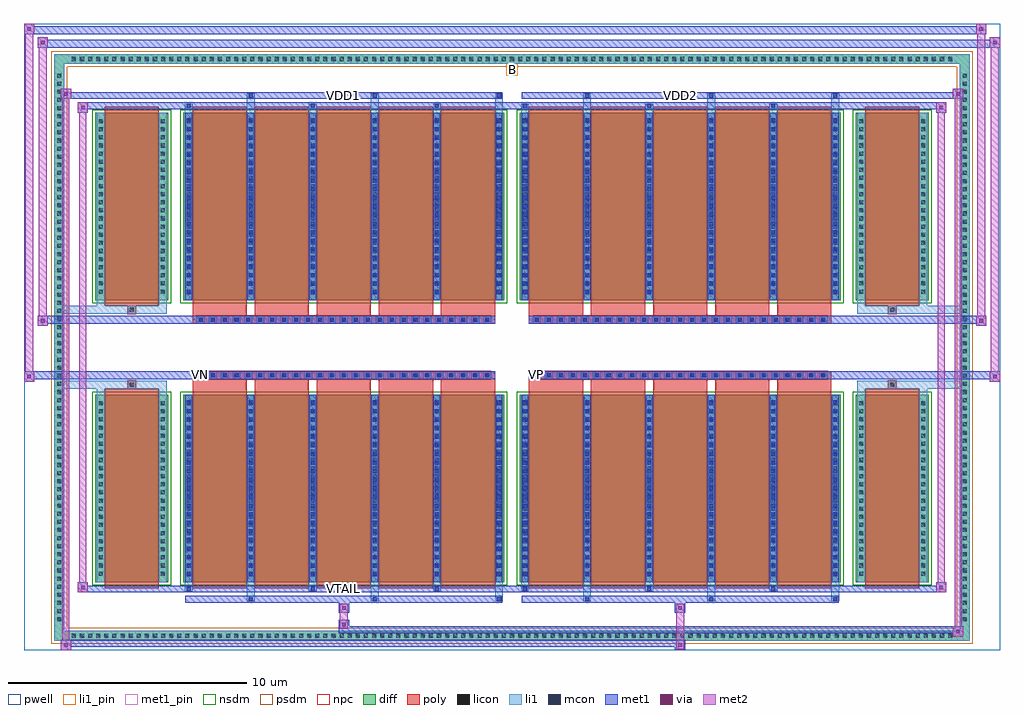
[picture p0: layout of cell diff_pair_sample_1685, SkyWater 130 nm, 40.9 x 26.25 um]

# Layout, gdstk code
import gdstk
lib = gdstk.Library(unit=1e-6, precision=5e-09)
def R(c, l, rs):  # rectangles x0, y0, x1, y1
    for r in rs: c.add(gdstk.rectangle(r[:2], r[2:], *l))
def A(c, l, x, y, w, h, nx, ny, dx, dy):  # array of equal rectangles
    R(c, l, [(x+i*dx, y+j*dy, x+i*dx+w, y+j*dy+h) for i in range(nx) for j in range(ny)])
def P(c, l, *ps):  # polygons
    for p in ps: c.add(gdstk.Polygon(p, *l))
pwell = (64, 44)
diff = (65, 20)
poly = (66, 20)
licon = (66, 44)
li1_pin = (67, 16)
li1 = (67, 20)
mcon = (67, 44)
met1_pin = (68, 16)
met1 = (68, 20)
via = (68, 44)
met2 = (69, 20)
nsdm = (93, 44)
psdm = (94, 20)
npc = (95, 20)

diff_pair_sample_1685 = lib.new_cell('diff_pair_sample_1685')
R(diff_pair_sample_1685, pwell, [(-20.45,-12.69,20.45,13.56), (-17.77,-10.88,-0.01,-0.8), (0.01,-10.88,17.77,-0.8), (-17.77,0.8,-0.01,10.88), (0.01,0.8,17.77,10.88)])
A(diff_pair_sample_1685, diff, -18.565, -12.29, 0.41, 0.41, 109, 2, 0.34, 24.17)
A(diff_pair_sample_1685, diff, -19.18, -11.595, 0.41, 0.41, 1, 68, 0, 0.34)
A(diff_pair_sample_1685, diff, 18.77, -11.595, 0.41, 0.41, 1, 68, 0, 0.34)
R(diff_pair_sample_1685, diff, [(-18.565,-12.29,18.565,-11.88), (-19.18,-11.595,-18.77,11.595), (18.77,-11.595,19.18,11.595), (-17.46,-9.835,-14.41,-1.985), (-13.77,-9.835,-0.32,-1.985), (0.32,-9.835,13.77,-1.985), (14.41,-9.835,17.46,-1.985), (-17.46,1.985,-14.41,9.835), (-13.77,1.985,-0.32,9.835), (0.32,1.985,13.77,9.835), (14.41,1.985,17.46,9.835), (-18.565,11.88,18.565,12.29)])
P(diff_pair_sample_1685, diff, [(19.18,12.29),(-19.18,12.29),(-19.18,-11.88),(-18.77,-11.88),(-18.77,11.88),(18.77,11.88),(18.77,-11.88),(-18.77,-11.88),(-19.18,-11.88),(-19.18,-12.29),(19.18,-12.29)])
A(diff_pair_sample_1685, poly, -13.38, -10.085, 2.27, 8.35, 5, 2, 2.6, 11.82)
A(diff_pair_sample_1685, poly, 0.71, -10.085, 2.27, 8.35, 5, 2, 2.6, 11.82)
A(diff_pair_sample_1685, poly, -13.38, -1.735, 2.27, 0.405, 5, 2, 2.6, 3.065)
A(diff_pair_sample_1685, poly, 0.71, -1.735, 2.27, 0.405, 5, 2, 2.6, 3.065)
A(diff_pair_sample_1685, poly, -13.21, -1.33, 0.33, 0.33, 25, 2, 0.5, 2.33)
A(diff_pair_sample_1685, poly, 0.88, -1.33, 0.33, 0.33, 25, 2, 0.5, 2.33)
R(diff_pair_sample_1685, poly, [(-17.07,-10.085,-14.8,-1.735), (14.8,-10.085,17.07,-1.735), (-16.1,-1.735,-15.77,-1.405), (-16.1,-1.735,-15.77,-1.405), (15.77,-1.735,16.1,-1.405), (15.77,-1.735,16.1,-1.405), (-13.38,-1.33,-0.71,-1), (0.71,-1.33,13.38,-1), (-13.38,1,-0.71,1.33), (0.71,1,13.38,1.33), (-16.1,1.405,-15.77,1.735), (-16.1,1.405,-15.77,1.735), (15.77,1.405,16.1,1.735), (15.77,1.405,16.1,1.735), (-17.07,1.735,-14.8,10.085), (14.8,1.735,17.07,10.085)])
A(diff_pair_sample_1685, licon, -18.445, -12.17, 0.17, 0.17, 109, 2, 0.34, 24.17)
A(diff_pair_sample_1685, licon, -19.06, -11.475, 0.17, 0.17, 1, 68, 0, 0.34)
A(diff_pair_sample_1685, licon, 18.89, -11.475, 0.17, 0.17, 1, 68, 0, 0.34)
A(diff_pair_sample_1685, licon, -17.32, -9.565, 0.17, 0.17, 1, 22, 0, 0.34)
A(diff_pair_sample_1685, licon, -14.72, -9.565, 0.17, 0.17, 1, 22, 0, 0.34)
A(diff_pair_sample_1685, licon, -13.63, -9.565, 0.17, 0.17, 6, 22, 2.6, 0.34)
A(diff_pair_sample_1685, licon, 0.46, -9.565, 0.17, 0.17, 6, 22, 2.6, 0.34)
A(diff_pair_sample_1685, licon, 14.55, -9.565, 0.17, 0.17, 1, 22, 0, 0.34)
A(diff_pair_sample_1685, licon, 17.15, -9.565, 0.17, 0.17, 1, 22, 0, 0.34)
A(diff_pair_sample_1685, licon, -13.13, -1.25, 0.17, 0.17, 25, 2, 0.5, 2.33)
A(diff_pair_sample_1685, licon, 0.96, -1.25, 0.17, 0.17, 25, 2, 0.5, 2.33)
A(diff_pair_sample_1685, licon, -17.32, 2.255, 0.17, 0.17, 1, 22, 0, 0.34)
A(diff_pair_sample_1685, licon, -14.72, 2.255, 0.17, 0.17, 1, 22, 0, 0.34)
A(diff_pair_sample_1685, licon, -13.63, 2.255, 0.17, 0.17, 6, 22, 2.6, 0.34)
A(diff_pair_sample_1685, licon, 0.46, 2.255, 0.17, 0.17, 6, 22, 2.6, 0.34)
A(diff_pair_sample_1685, licon, 14.55, 2.255, 0.17, 0.17, 1, 22, 0, 0.34)
A(diff_pair_sample_1685, licon, 17.15, 2.255, 0.17, 0.17, 1, 22, 0, 0.34)
R(diff_pair_sample_1685, licon, [(-16.02,-1.655,-15.85,-1.485), (15.85,-1.655,16.02,-1.485), (-16.02,1.485,-15.85,1.655), (15.85,1.485,16.02,1.655)])
R(diff_pair_sample_1685, li1_pin, [(-0.25,11.38,0.25,11.88)])
A(diff_pair_sample_1685, li1, -18.525, -12.25, 0.33, 0.33, 109, 2, 0.34, 24.17)
A(diff_pair_sample_1685, li1, -19.14, -11.555, 0.33, 0.33, 1, 68, 0, 0.34)
A(diff_pair_sample_1685, li1, 18.81, -11.555, 0.33, 0.33, 1, 68, 0, 0.34)
A(diff_pair_sample_1685, li1, -11.11, -10.64, 0.33, 0.805, 3, 2, 5.2, 20.475)
A(diff_pair_sample_1685, li1, -11.03, -10.64, 0.17, 0.17, 3, 2, 5.2, 21.11)
A(diff_pair_sample_1685, li1, 2.98, -10.64, 0.33, 0.805, 3, 2, 5.2, 20.475)
A(diff_pair_sample_1685, li1, 3.06, -10.64, 0.17, 0.17, 3, 2, 5.2, 21.11)
A(diff_pair_sample_1685, li1, -13.71, -10.21, 0.33, 0.375, 3, 2, 5.2, 20.045)
A(diff_pair_sample_1685, li1, -13.63, -10.21, 0.17, 0.17, 3, 2, 5.2, 20.25)
A(diff_pair_sample_1685, li1, 0.38, -10.21, 0.33, 0.375, 3, 2, 5.2, 20.045)
A(diff_pair_sample_1685, li1, 0.46, -10.21, 0.17, 0.17, 3, 2, 5.2, 20.25)
A(diff_pair_sample_1685, li1, -13.71, -9.835, 0.33, 7.85, 6, 2, 2.6, 11.82)
A(diff_pair_sample_1685, li1, 0.38, -9.835, 0.33, 7.85, 6, 2, 2.6, 11.82)
A(diff_pair_sample_1685, li1, -17.4, -9.645, 0.33, 0.33, 1, 22, 0, 0.34)
A(diff_pair_sample_1685, li1, -14.8, -9.645, 0.33, 0.33, 1, 22, 0, 0.34)
A(diff_pair_sample_1685, li1, -13.71, -9.645, 0.33, 0.33, 6, 22, 2.6, 0.34)
A(diff_pair_sample_1685, li1, 0.38, -9.645, 0.33, 0.33, 6, 22, 2.6, 0.34)
A(diff_pair_sample_1685, li1, 14.47, -9.645, 0.33, 0.33, 1, 22, 0, 0.34)
A(diff_pair_sample_1685, li1, 17.07, -9.645, 0.33, 0.33, 1, 22, 0, 0.34)
A(diff_pair_sample_1685, li1, -13.63, -9.595, 0.17, 0.17, 6, 21, 2.6, 0.36)
A(diff_pair_sample_1685, li1, -13.63, -9.595, 0.17, 7.37, 6, 2, 2.6, 11.82)
A(diff_pair_sample_1685, li1, 0.46, -9.595, 0.17, 0.17, 6, 21, 2.6, 0.36)
A(diff_pair_sample_1685, li1, 0.46, -9.595, 0.17, 7.37, 6, 2, 2.6, 11.82)
A(diff_pair_sample_1685, li1, -13.21, -1.33, 0.33, 0.33, 25, 2, 0.5, 2.33)
A(diff_pair_sample_1685, li1, 0.88, -1.33, 0.33, 0.33, 25, 2, 0.5, 2.33)
A(diff_pair_sample_1685, li1, -17.4, 2.175, 0.33, 0.33, 1, 22, 0, 0.34)
A(diff_pair_sample_1685, li1, -14.8, 2.175, 0.33, 0.33, 1, 22, 0, 0.34)
A(diff_pair_sample_1685, li1, -13.71, 2.175, 0.33, 0.33, 6, 22, 2.6, 0.34)
A(diff_pair_sample_1685, li1, 0.38, 2.175, 0.33, 0.33, 6, 22, 2.6, 0.34)
A(diff_pair_sample_1685, li1, 14.47, 2.175, 0.33, 0.33, 1, 22, 0, 0.34)
A(diff_pair_sample_1685, li1, 17.07, 2.175, 0.33, 0.33, 1, 22, 0, 0.34)
A(diff_pair_sample_1685, li1, -13.63, 2.225, 0.17, 0.17, 6, 21, 2.6, 0.36)
A(diff_pair_sample_1685, li1, 0.46, 2.225, 0.17, 0.17, 6, 21, 2.6, 0.36)
R(diff_pair_sample_1685, li1, [(-19.18,-12.29,-18.77,-11.88), (-19.18,-12.29,-18.77,-11.88), (-18.77,-12.29,18.77,-11.88), (18.77,-12.29,19.18,-11.88), (18.77,-12.29,19.18,-11.88), (-19.18,-11.88,-18.77,11.88), (18.77,-11.88,19.18,11.88), (-17.4,-9.835,-17.07,-1.985), (-14.8,-9.835,-14.47,-1.985), (14.47,-9.835,14.8,-1.985), (17.07,-9.835,17.4,-1.985), (-17.4,-1.985,-17.07,-1.405), (-14.8,-1.985,-14.47,-1.405), (14.47,-1.985,14.8,-1.405), (17.07,-1.985,17.4,-1.405), (-19.18,-1.735,-16.1,-1.405), (-17.4,-1.735,-16.1,-1.405), (-16.1,-1.735,-15.77,-1.405), (-15.77,-1.735,-14.47,-1.405), (14.47,-1.735,15.77,-1.405), (15.77,-1.735,16.1,-1.405), (15.77,-1.735,19.18,-1.405), (16.1,-1.735,17.4,-1.405), (-19.18,1.405,-16.1,1.735), (-17.4,1.405,-16.1,1.735), (-17.4,1.405,-17.07,1.985), (-16.1,1.405,-15.77,1.735), (-15.77,1.405,-14.47,1.735), (-14.8,1.405,-14.47,1.985), (14.47,1.405,15.77,1.735), (14.47,1.405,14.8,1.985), (15.77,1.405,16.1,1.735), (15.77,1.405,19.18,1.735), (16.1,1.405,17.4,1.735), (17.07,1.405,17.4,1.985), (-17.4,1.985,-17.07,9.835), (-14.8,1.985,-14.47,9.835), (14.47,1.985,14.8,9.835), (17.07,1.985,17.4,9.835), (-19.18,11.88,-18.77,12.29), (-19.18,11.88,-18.77,12.29), (-18.77,11.88,18.77,12.29), (18.77,11.88,19.18,12.29), (18.77,11.88,19.18,12.29)])
A(diff_pair_sample_1685, mcon, -11.03, -10.64, 0.17, 0.17, 3, 2, 5.2, 21.11)
A(diff_pair_sample_1685, mcon, 3.06, -10.64, 0.17, 0.17, 3, 2, 5.2, 21.11)
A(diff_pair_sample_1685, mcon, -13.63, -10.21, 0.17, 0.17, 3, 2, 5.2, 20.25)
A(diff_pair_sample_1685, mcon, 0.46, -10.21, 0.17, 0.17, 3, 2, 5.2, 20.25)
A(diff_pair_sample_1685, mcon, -13.63, -9.595, 0.17, 0.17, 6, 21, 2.6, 0.36)
A(diff_pair_sample_1685, mcon, 0.46, -9.595, 0.17, 0.17, 6, 21, 2.6, 0.36)
A(diff_pair_sample_1685, mcon, -13.13, -1.25, 0.17, 0.17, 25, 2, 0.5, 2.33)
A(diff_pair_sample_1685, mcon, 0.96, -1.25, 0.17, 0.17, 25, 2, 0.5, 2.33)
A(diff_pair_sample_1685, mcon, -13.63, 2.225, 0.17, 0.17, 6, 21, 2.6, 0.36)
A(diff_pair_sample_1685, mcon, 0.46, 2.225, 0.17, 0.17, 6, 21, 2.6, 0.36)
R(diff_pair_sample_1685, met1_pin, [(-7.18,-10.25,-6.91,-9.98), (-13.18,-1.29,-12.91,-1.02), (0.91,-1.29,1.18,-1.02), (-7.18,10.43,-6.91,10.7), (6.91,10.43,7.18,10.7)])
A(diff_pair_sample_1685, met1, -11.09, -10.7, 0.29, 0.29, 3, 2, 5.2, 21.11)
A(diff_pair_sample_1685, met1, 3, -10.7, 0.29, 0.29, 3, 2, 5.2, 21.11)
A(diff_pair_sample_1685, met1, -13.69, -10.27, 0.29, 0.29, 3, 2, 5.2, 20.25)
A(diff_pair_sample_1685, met1, 0.4, -10.27, 0.29, 0.29, 3, 2, 5.2, 20.25)
A(diff_pair_sample_1685, met1, -13.69, -9.835, 0.29, 7.85, 6, 2, 2.6, 11.82)
A(diff_pair_sample_1685, met1, 0.4, -9.835, 0.29, 7.85, 6, 2, 2.6, 11.82)
A(diff_pair_sample_1685, met1, -13.69, -9.655, 0.29, 0.29, 6, 21, 2.6, 0.36)
A(diff_pair_sample_1685, met1, 0.4, -9.655, 0.29, 0.29, 6, 21, 2.6, 0.36)
A(diff_pair_sample_1685, met1, -13.19, -1.31, 0.29, 0.29, 25, 2, 0.5, 2.33)
A(diff_pair_sample_1685, met1, 0.9, -1.31, 0.29, 0.29, 25, 2, 0.5, 2.33)
A(diff_pair_sample_1685, met1, -13.69, 2.165, 0.29, 0.29, 6, 21, 2.6, 0.36)
A(diff_pair_sample_1685, met1, 0.4, 2.165, 0.29, 0.29, 6, 21, 2.6, 0.36)
R(diff_pair_sample_1685, met1, [(-18.91,-12.69,-18.48,-12.26), (6.83,-12.69,7.26,-12.26), (-18.91,-12.55,7.26,-12.26), (18.48,-12.12,18.91,-11.69), (-7.26,-11.98,18.91,-11.69), (-7.26,-11.84,-6.83,-11.41), (-7.26,-11.13,-6.83,-10.7), (6.83,-11.13,7.26,-10.7), (-13.69,-10.7,-0.4,-10.41), (0.4,-10.7,13.69,-10.41), (-18.2,-10.27,-17.77,-9.84), (-18.2,-10.27,-13.69,-9.98), (-13.69,-10.27,-0.4,-9.98), (-0.4,-10.27,0.4,-9.98), (0.4,-10.27,13.69,-9.98), (13.69,-10.27,18.2,-9.98), (17.77,-10.27,18.2,-9.84), (-20.45,-1.43,-20.02,-1), (20.02,-1.43,20.45,-1), (-20.45,-1.33,-0.71,-1), (-13.38,-1.33,-0.71,-1), (0.71,-1.33,13.38,-1), (0.71,-1.33,20.45,-1), (-19.88,0.9,-19.45,1.33), (19.45,0.9,19.88,1.33), (-19.88,1,-13.38,1.33), (-13.38,1,-0.71,1.33), (0.71,1,13.38,1.33), (13.38,1,19.88,1.33), (-18.2,9.84,-17.77,10.27), (17.77,9.84,18.2,10.27), (-18.2,9.98,-13.69,10.27), (-13.69,9.98,-0.4,10.27), (-0.4,9.98,0.4,10.27), (0.4,9.98,13.69,10.27), (13.69,9.98,18.2,10.27), (-18.91,10.41,-18.48,10.84), (-18.91,10.41,-13.69,10.7), (-13.69,10.41,-0.4,10.7), (0.4,10.41,13.69,10.7), (13.69,10.41,18.91,10.7), (18.48,10.41,18.91,10.84), (-19.88,12.56,-19.45,12.99), (-19.88,12.56,-17.77,12.89), (-17.77,12.56,17.77,12.89), (17.77,12.56,20.45,12.89), (20.02,12.56,20.45,12.99), (-20.45,13.13,-20.02,13.56), (-20.45,13.13,-17.77,13.46), (-17.77,13.13,17.77,13.46), (17.77,13.13,19.88,13.46), (19.45,13.13,19.88,13.56)])
R(diff_pair_sample_1685, via, [(-18.77,-12.55,-18.62,-12.4), (6.97,-12.55,7.12,-12.4), (18.62,-11.98,18.77,-11.83), (-7.12,-11.7,-6.97,-11.55), (-7.12,-10.99,-6.97,-10.84), (6.97,-10.99,7.12,-10.84), (-18.06,-10.13,-17.91,-9.98), (17.91,-10.13,18.06,-9.98), (-20.31,-1.29,-20.16,-1.14), (20.16,-1.29,20.31,-1.14), (-19.74,1.04,-19.59,1.19), (19.59,1.04,19.74,1.19), (-18.06,9.98,-17.91,10.13), (17.91,9.98,18.06,10.13), (-18.77,10.55,-18.62,10.7), (18.62,10.55,18.77,10.7), (-19.74,12.7,-19.59,12.85), (20.16,12.7,20.31,12.85), (-20.31,13.27,-20.16,13.42), (19.59,13.27,19.74,13.42)])
R(diff_pair_sample_1685, met2, [(-18.91,-12.69,-18.48,-12.26), (-18.84,-12.69,-18.55,10.84), (-18.55,-12.69,-18.48,-12.26), (-18.86,-12.64,-18.53,-12.31), (6.88,-12.64,7.21,-12.31), (6.88,-12.31,7.21,-11.08), (18.48,-12.12,18.91,-11.69), (18.55,-12.12,18.84,10.84), (18.84,-12.12,18.91,-11.69), (18.53,-12.07,18.86,-11.74), (-7.21,-11.79,-6.88,-11.46), (-7.21,-11.46,-6.88,-11.08), (-7.21,-11.08,-6.88,-10.75), (6.88,-11.08,7.21,-10.75), (-18.2,-10.27,-17.77,-9.84), (-18.13,-10.27,-17.84,10.27), (-17.84,-10.27,-17.77,-9.84), (17.77,-10.27,18.2,-9.84), (17.84,-10.27,18.13,10.27), (18.13,-10.27,18.2,-9.84), (-18.15,-10.22,-17.82,-9.89), (17.82,-10.22,18.15,-9.89), (-20.45,-1.43,-20.02,-1), (-20.4,-1.43,-20.07,13.56), (-20.07,-1.43,-20.02,-1), (20.02,-1.43,20.45,-1), (20.07,-1.43,20.4,12.99), (20.4,-1.43,20.45,-1), (-20.4,-1.38,-20.07,-1.05), (20.07,-1.38,20.4,-1.05), (-19.88,0.9,-19.45,1.33), (-19.83,0.9,-19.5,12.99), (-19.5,0.9,-19.45,1.33), (19.45,0.9,19.88,1.33), (19.5,0.9,19.83,13.56), (19.83,0.9,19.88,1.33), (-19.83,0.95,-19.5,1.28), (19.5,0.95,19.83,1.28), (-18.2,9.84,-17.77,10.27), (-17.84,9.84,-17.77,10.27), (17.77,9.84,18.2,10.27), (18.13,9.84,18.2,10.27), (-18.15,9.89,-17.82,10.22), (17.82,9.89,18.15,10.22), (-18.91,10.41,-18.48,10.84), (-18.55,10.41,-18.48,10.84), (18.48,10.41,18.91,10.84), (18.84,10.41,18.91,10.84), (-18.86,10.46,-18.53,10.79), (18.53,10.46,18.86,10.79), (-19.88,12.56,-19.45,12.99), (-19.5,12.56,-19.45,12.99), (20.02,12.56,20.45,12.99), (20.4,12.56,20.45,12.99), (-19.83,12.61,-19.5,12.94), (20.07,12.61,20.4,12.94), (-20.45,13.13,-20.02,13.56), (-20.07,13.13,-20.02,13.56), (19.45,13.13,19.88,13.56), (19.83,13.13,19.88,13.56), (-20.4,13.18,-20.07,13.51), (19.5,13.18,19.83,13.51)])
R(diff_pair_sample_1685, nsdm, [(-17.59,-9.965,-14.28,-1.855), (-13.9,-9.965,-0.19,-1.855), (0.19,-9.965,13.9,-1.855), (14.28,-9.965,17.59,-1.855), (-17.59,1.855,-14.28,9.965), (-13.9,1.855,-0.19,9.965), (0.19,1.855,13.9,9.965), (14.28,1.855,17.59,9.965)])
P(diff_pair_sample_1685, psdm, [(19.31,12.42),(-19.31,12.42),(-19.31,-11.75),(-18.64,-11.75),(-18.64,11.75),(18.64,11.75),(18.64,-11.75),(-18.64,-11.75),(-19.31,-11.75),(-19.31,-12.42),(19.31,-12.42)])
A(diff_pair_sample_1685, npc, -13.23, -1.35, 0.37, 0.37, 25, 2, 0.5, 2.33)
A(diff_pair_sample_1685, npc, 0.86, -1.35, 0.37, 0.37, 25, 2, 0.5, 2.33)
R(diff_pair_sample_1685, npc, [(-16.12,-1.755,-15.75,-1.385), (15.75,-1.755,16.12,-1.385), (-13.23,-1.35,-12.36,-0.98), (-13.23,-1.35,-12.36,-0.98), (-12.73,-1.35,-11.86,-0.98), (-12.73,-1.35,-11.86,-0.98), (-12.23,-1.35,-11.36,-0.98), (-12.23,-1.35,-11.36,-0.98), (-11.73,-1.35,-10.86,-0.98), (-11.73,-1.35,-10.86,-0.98), (-11.23,-1.35,-10.36,-0.98), (-11.23,-1.35,-10.36,-0.98), (-10.73,-1.35,-9.86,-0.98), (-10.73,-1.35,-9.86,-0.98), (-10.23,-1.35,-9.36,-0.98), (-10.23,-1.35,-9.36,-0.98), (-9.73,-1.35,-8.86,-0.98), (-9.73,-1.35,-8.86,-0.98), (-9.23,-1.35,-8.36,-0.98), (-9.23,-1.35,-8.36,-0.98), (-8.73,-1.35,-7.86,-0.98), (-8.73,-1.35,-7.86,-0.98), (-8.23,-1.35,-7.36,-0.98), (-8.23,-1.35,-7.36,-0.98), (-7.73,-1.35,-6.86,-0.98), (-7.73,-1.35,-6.86,-0.98), (-7.23,-1.35,-6.36,-0.98), (-7.23,-1.35,-6.36,-0.98), (-6.73,-1.35,-5.86,-0.98), (-6.73,-1.35,-5.86,-0.98), (-6.23,-1.35,-5.36,-0.98), (-6.23,-1.35,-5.36,-0.98), (-5.73,-1.35,-4.86,-0.98), (-5.73,-1.35,-4.86,-0.98), (-5.23,-1.35,-4.36,-0.98), (-5.23,-1.35,-4.36,-0.98), (-4.73,-1.35,-3.86,-0.98), (-4.73,-1.35,-3.86,-0.98), (-4.23,-1.35,-3.36,-0.98), (-4.23,-1.35,-3.36,-0.98), (-3.73,-1.35,-2.86,-0.98), (-3.73,-1.35,-2.86,-0.98), (-3.23,-1.35,-2.36,-0.98), (-3.23,-1.35,-2.36,-0.98), (-2.73,-1.35,-1.86,-0.98), (-2.73,-1.35,-1.86,-0.98), (-2.23,-1.35,-1.36,-0.98), (-2.23,-1.35,-1.36,-0.98), (-1.73,-1.35,-0.86,-0.98), (-1.73,-1.35,-0.86,-0.98), (0.86,-1.35,1.73,-0.98), (0.86,-1.35,1.73,-0.98), (1.36,-1.35,2.23,-0.98), (1.36,-1.35,2.23,-0.98), (1.86,-1.35,2.73,-0.98), (1.86,-1.35,2.73,-0.98), (2.36,-1.35,3.23,-0.98), (2.36,-1.35,3.23,-0.98), (2.86,-1.35,3.73,-0.98), (2.86,-1.35,3.73,-0.98), (3.36,-1.35,4.23,-0.98), (3.36,-1.35,4.23,-0.98), (3.86,-1.35,4.73,-0.98), (3.86,-1.35,4.73,-0.98), (4.36,-1.35,5.23,-0.98), (4.36,-1.35,5.23,-0.98), (4.86,-1.35,5.73,-0.98), (4.86,-1.35,5.73,-0.98), (5.36,-1.35,6.23,-0.98), (5.36,-1.35,6.23,-0.98), (5.86,-1.35,6.73,-0.98), (5.86,-1.35,6.73,-0.98), (6.36,-1.35,7.23,-0.98), (6.36,-1.35,7.23,-0.98), (6.86,-1.35,7.73,-0.98), (6.86,-1.35,7.73,-0.98), (7.36,-1.35,8.23,-0.98), (7.36,-1.35,8.23,-0.98), (7.86,-1.35,8.73,-0.98), (7.86,-1.35,8.73,-0.98), (8.36,-1.35,9.23,-0.98), (8.36,-1.35,9.23,-0.98), (8.86,-1.35,9.73,-0.98), (8.86,-1.35,9.73,-0.98), (9.36,-1.35,10.23,-0.98), (9.36,-1.35,10.23,-0.98), (9.86,-1.35,10.73,-0.98), (9.86,-1.35,10.73,-0.98), (10.36,-1.35,11.23,-0.98), (10.36,-1.35,11.23,-0.98), (10.86,-1.35,11.73,-0.98), (10.86,-1.35,11.73,-0.98), (11.36,-1.35,12.23,-0.98), (11.36,-1.35,12.23,-0.98), (11.86,-1.35,12.73,-0.98), (11.86,-1.35,12.73,-0.98), (12.36,-1.35,13.23,-0.98), (12.36,-1.35,13.23,-0.98), (-13.23,0.98,-12.36,1.35), (-13.23,0.98,-12.36,1.35), (-12.73,0.98,-11.86,1.35), (-12.73,0.98,-11.86,1.35), (-12.23,0.98,-11.36,1.35), (-12.23,0.98,-11.36,1.35), (-11.73,0.98,-10.86,1.35), (-11.73,0.98,-10.86,1.35), (-11.23,0.98,-10.36,1.35), (-11.23,0.98,-10.36,1.35), (-10.73,0.98,-9.86,1.35), (-10.73,0.98,-9.86,1.35), (-10.23,0.98,-9.36,1.35), (-10.23,0.98,-9.36,1.35), (-9.73,0.98,-8.86,1.35), (-9.73,0.98,-8.86,1.35), (-9.23,0.98,-8.36,1.35), (-9.23,0.98,-8.36,1.35), (-8.73,0.98,-7.86,1.35), (-8.73,0.98,-7.86,1.35), (-8.23,0.98,-7.36,1.35), (-8.23,0.98,-7.36,1.35), (-7.73,0.98,-6.86,1.35), (-7.73,0.98,-6.86,1.35), (-7.23,0.98,-6.36,1.35), (-7.23,0.98,-6.36,1.35), (-6.73,0.98,-5.86,1.35), (-6.73,0.98,-5.86,1.35), (-6.23,0.98,-5.36,1.35), (-6.23,0.98,-5.36,1.35), (-5.73,0.98,-4.86,1.35), (-5.73,0.98,-4.86,1.35), (-5.23,0.98,-4.36,1.35), (-5.23,0.98,-4.36,1.35), (-4.73,0.98,-3.86,1.35), (-4.73,0.98,-3.86,1.35), (-4.23,0.98,-3.36,1.35), (-4.23,0.98,-3.36,1.35), (-3.73,0.98,-2.86,1.35), (-3.73,0.98,-2.86,1.35), (-3.23,0.98,-2.36,1.35), (-3.23,0.98,-2.36,1.35), (-2.73,0.98,-1.86,1.35), (-2.73,0.98,-1.86,1.35), (-2.23,0.98,-1.36,1.35), (-2.23,0.98,-1.36,1.35), (-1.73,0.98,-0.86,1.35), (-1.73,0.98,-0.86,1.35), (0.86,0.98,1.73,1.35), (0.86,0.98,1.73,1.35), (1.36,0.98,2.23,1.35), (1.36,0.98,2.23,1.35), (1.86,0.98,2.73,1.35), (1.86,0.98,2.73,1.35), (2.36,0.98,3.23,1.35), (2.36,0.98,3.23,1.35), (2.86,0.98,3.73,1.35), (2.86,0.98,3.73,1.35), (3.36,0.98,4.23,1.35), (3.36,0.98,4.23,1.35), (3.86,0.98,4.73,1.35), (3.86,0.98,4.73,1.35), (4.36,0.98,5.23,1.35), (4.36,0.98,5.23,1.35), (4.86,0.98,5.73,1.35), (4.86,0.98,5.73,1.35), (5.36,0.98,6.23,1.35), (5.36,0.98,6.23,1.35), (5.86,0.98,6.73,1.35), (5.86,0.98,6.73,1.35), (6.36,0.98,7.23,1.35), (6.36,0.98,7.23,1.35), (6.86,0.98,7.73,1.35), (6.86,0.98,7.73,1.35), (7.36,0.98,8.23,1.35), (7.36,0.98,8.23,1.35), (7.86,0.98,8.73,1.35), (7.86,0.98,8.73,1.35), (8.36,0.98,9.23,1.35), (8.36,0.98,9.23,1.35), (8.86,0.98,9.73,1.35), (8.86,0.98,9.73,1.35), (9.36,0.98,10.23,1.35), (9.36,0.98,10.23,1.35), (9.86,0.98,10.73,1.35), (9.86,0.98,10.73,1.35), (10.36,0.98,11.23,1.35), (10.36,0.98,11.23,1.35), (10.86,0.98,11.73,1.35), (10.86,0.98,11.73,1.35), (11.36,0.98,12.23,1.35), (11.36,0.98,12.23,1.35), (11.86,0.98,12.73,1.35), (11.86,0.98,12.73,1.35), (12.36,0.98,13.23,1.35), (12.36,0.98,13.23,1.35), (-16.12,1.385,-15.75,1.755), (15.75,1.385,16.12,1.755)])
diff_pair_sample_1685.add(gdstk.Label('VTAIL', (-7.045,-10.115), layer=68, texttype=5))
diff_pair_sample_1685.add(gdstk.Label('VN', (-13.045,-1.155), layer=68, texttype=5))
diff_pair_sample_1685.add(gdstk.Label('VP', (1.045,-1.155), layer=68, texttype=5))
diff_pair_sample_1685.add(gdstk.Label('B', (0,11.63), layer=67, texttype=5))
diff_pair_sample_1685.add(gdstk.Label('VDD2', (7.045,10.565), layer=68, texttype=5))
diff_pair_sample_1685.add(gdstk.Label('VDD1', (-7.045,10.565), layer=68, texttype=5))

lib.write_gds('diff_pair_sample_1685.gds')
